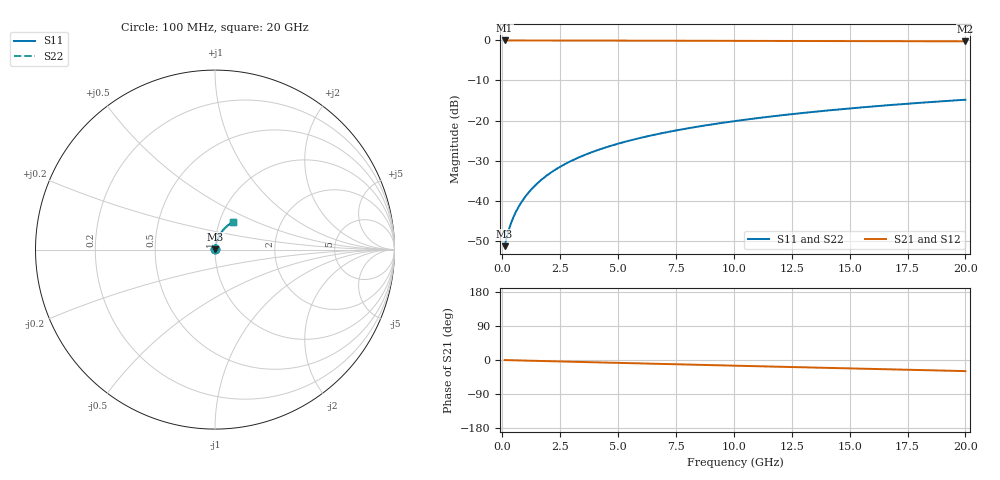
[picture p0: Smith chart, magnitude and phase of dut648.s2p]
! Touchstone file exported from HFSS 2026.1.0
!  File:  C:/ffzhzh/LocalFiles/Ansys_Project_Files/temp_train_BSMRDL_648_1783016908_46388.aedt
!  Generated:  02:29:53 AM Jul  3, 2026
!  Design:  BSMRDL
!  Project:  temp_train_BSMRDL_648_1783016908_46388
! Variables:
!  h_bsmrdl = 4.2um
!  h_ox = 20um
!  h_rdl = 5um
!  h_sub = 80um
!  h_tmrdl = 5um
!  h_tsv = 80um
!  h_via = 3um
!  l_bsmrdl = 478.92um
!  l_sub = 878.92um
!  l_tmrdl = 200um
!  m_sub = 200um
!  pitch = 29.78um
!  r_tsv = 6um
!  s_tmrdl = 10um
!  w_bsmrdl = 18.25um
!  w_sub = 500um
!  w_tmrdl = 12um
!  x_tsv_center1 = 206um
!  x_tsv_center2 = 703.17um
!  x_tsv_center3 = 915.17um
!  x_tsv_center4 = 1412.34um
!  x_tsv_center5 = 1624.34um
!  x_tsv_center6 = 2121.51um
# GHz S MA R 50.000000
! Terminal data exported
! Port[1] = BSM_RDL1_1_T1
! Port[2] = BSM_RDL1_1_T2
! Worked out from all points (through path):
!   200 points, 100 MHz to 20 GHz, reference 50 ohm
!   highest |S21| = -0.02 dB at 100 MHz (marker M1); lowest = -0.2 dB at 20 GHz (marker M2)
!   group delay of S21, straight-line fit = 4.06 ps
!   lowest |S11| = -51.3 dB at 100 MHz (marker M3), VSWR 1.01, Z = 50.2 + j0.128 ohm
!   |S11| at or under -10 dB: start of sweep to end of sweep
!   |S22| runs from -51.3 to -14.8 dB; largest |S21 - S12| = 2.1e-15
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0.1  0.002709 28.1  0.9976 -0.2  0.9976 -0.2  0.002709 28.1
! Gamma 0 0 0 0
! Port Impedance 50 0 50 0
0.2  0.003549 44.2  0.9975 -0.3  0.9975 -0.3  0.003549 44.2
0.3  0.0045 52.8  0.9973 -0.5  0.9973 -0.5  0.0045 52.8
0.4  0.005458 58.1  0.9972 -0.6  0.9972 -0.6  0.005459 58.1
0.5  0.006414 62.0  0.9971 -0.8  0.9971 -0.8  0.006415 62.0
0.6  0.007373 64.9  0.997 -0.9  0.997 -0.9  0.007374 64.9
0.8  0.009314 69.0  0.9969 -1.2  0.9969 -1.2  0.009315 69.0
1  0.01129 71.8  0.9968 -1.5  0.9968 -1.5  0.01129 71.8
1.2  0.01329 73.7  0.9967 -1.9  0.9967 -1.9  0.01329 73.7
1.4  0.01531 75.0  0.9966 -2.2  0.9966 -2.2  0.01531 75.0
1.7  0.01836 76.4  0.9964 -2.6  0.9964 -2.6  0.01836 76.3
2.2  0.02345 77.5  0.996 -3.4  0.996 -3.4  0.02345 77.5
2.8  0.02955 77.9  0.9956 -4.3  0.9956 -4.3  0.02955 77.9
3.5  0.03661 77.7  0.9949 -5.3  0.9949 -5.3  0.03661 77.7
4.2  0.04358 77.2  0.9942 -6.4  0.9942 -6.4  0.04358 77.2
5  0.05143 76.4  0.9933 -7.6  0.9933 -7.6  0.05143 76.4
6.8  0.06866 74.3  0.9911 -10.3  0.9911 -10.3  0.06866 74.3
8.3  0.08261 72.4  0.9892 -12.5  0.9892 -12.5  0.08261 72.4
10.1  0.09895 70.1  0.9868 -15.1  0.9868 -15.1  0.09895 70.1
13.4  0.1279 65.8  0.9822 -19.9  0.9822 -19.9  0.1279 65.8
16.7  0.1556 61.5  0.9772 -24.6  0.9772 -24.6  0.1556 61.5
20  0.1818 57.1  0.9718 -29.3  0.9718 -29.3  0.1818 57.1
